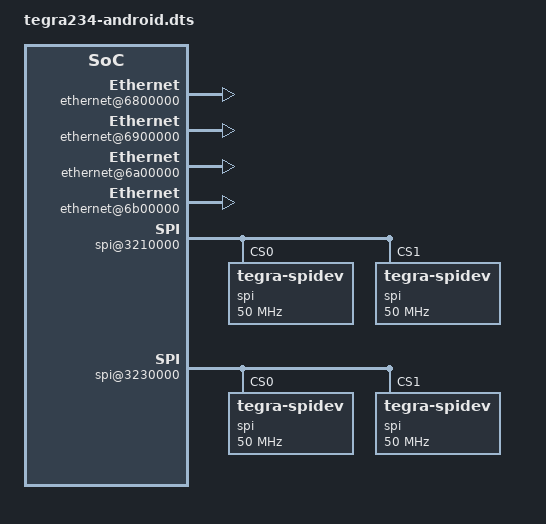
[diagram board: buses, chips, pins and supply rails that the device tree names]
// SPDX-License-Identifier: GPL-2.0-only
// SPDX-FileCopyrightText: Copyright (c) 2022-2024, NVIDIA CORPORATION & AFFILIATES.  All rights reserved.
//
// This file contains the DT nodes of T234 which are not in base/tegra234.dtsi

/dts-v1/;
/plugin/;

#include <dt-bindings/tegra234-android-bootargs.h>

/ {
	fragment-t234-android@0 {
		target-path = "/";
		 __overlay__ {
			firmware {
				android {
					compatible = "android,firmware";
					first_stage_delay = "1";
				};
				optee {
					compatible = "linaro,optee-tz";
					method = "smc";
					status = "okay";
				};
			};

			chosen {
				use_dts_cmdline;
				bootargs=ANDROID_BOOTARGS;
			};

			bus@0 {
				ethernet@6800000 {
					status = "okay";
				};

				ethernet@6900000 {
					status = "okay";
				};

				ethernet@6a00000 {
					status = "okay";
				};

				ethernet@6b00000 {
					status = "okay";
				};

				/* SPI1, 40pin header, Pin 19(MOSIsdd, Pin 21(MISO), Pin 23(CLK), Pin 24(CS) */
				spi@3210000 {
					status = "okay";
					spi@0 {
						compatible = "tegra-spidev";
						reg = <0x0>;
						spi-max-frequency = <50000000>;
						controller-data {
							nvidia,enable-hw-based-cs;
							nvidia,rx-clk-tap-delay = <0x10>;
							nvidia,tx-clk-tap-delay = <0x0>;
						};
					};
					spi@1 {
						compatible = "tegra-spidev";
						reg = <0x1>;
						spi-max-frequency = <50000000>;
						controller-data {
							nvidia,enable-hw-based-cs;
							nvidia,rx-clk-tap-delay = <0x10>;
							nvidia,tx-clk-tap-delay = <0x0>;
						};
					};

				};

				/* SPI3, 40pin header, Pin 37(MOSI), Pin 22(MISO), Pin 13(CLK), Pin 18(CS) */
				spi@3230000 {
					status = "okay";
					spi@0 {
						compatible = "tegra-spidev";
						reg = <0x0>;
						spi-max-frequency = <50000000>;
						controller-data {
							nvidia,enable-hw-based-cs;
							nvidia,rx-clk-tap-delay = <0x10>;
							nvidia,tx-clk-tap-delay = <0x0>;
						};
					};
					spi@1 {
						compatible = "tegra-spidev";
						reg = <0x1>;
						spi-max-frequency = <50000000>;
						controller-data {
							nvidia,enable-hw-based-cs;
							nvidia,rx-clk-tap-delay = <0x10>;
							nvidia,tx-clk-tap-delay = <0x0>;
						};
					};
				};

				serial@3100000 {
					dma-coherent;
					dmas = <&gpcdma 8>, <&gpcdma 8>;
					dma-names = "rx", "tx";
				};

				serial@3110000 {
					dma-coherent;
					dmas = <&gpcdma 8>, <&gpcdma 8>;
					dma-names = "rx", "tx";
				};

				serial@3140000 {
					dma-coherent;
					dmas = <&gpcdma 8>, <&gpcdma 8>;
					dma-names = "rx", "tx";
				};
				host1x@13e00000 {
					se@15820000 {
						status = "disabled";
					};
				};
			};

			display@13800000 {
				hdcp_enabled;
				status = "okay";
			};
		};
	};

	fragment-t234-android@1 {
		target-path = "/bus@0/mmc@3400000";
		delete_prop = "sd-uhs-ddr50";
	};
};
